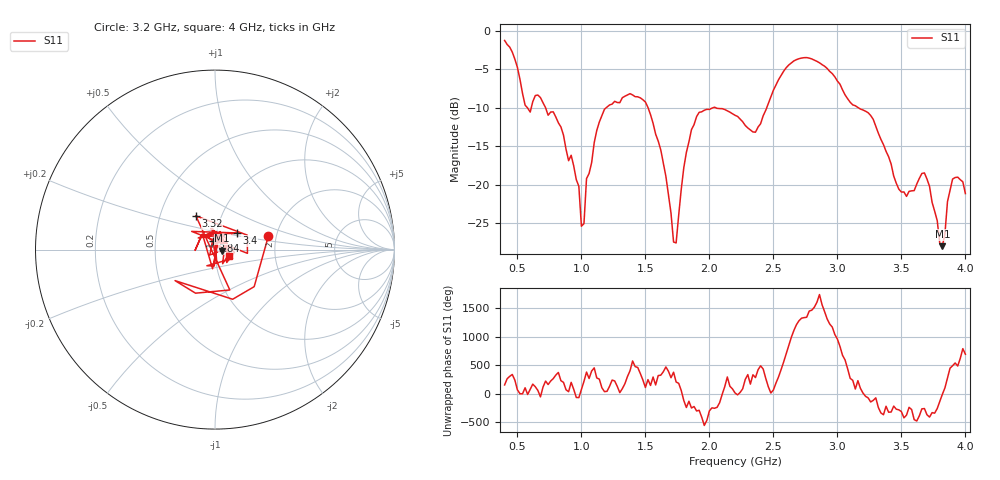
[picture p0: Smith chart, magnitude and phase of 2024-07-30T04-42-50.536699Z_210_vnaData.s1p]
!Created with skrf (http://scikit-rf.org).
# Hz S RI R 50.0
!freq ReS11 ImS11
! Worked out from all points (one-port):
!   181 points, 400 MHz to 4 GHz, reference 50 ohm
!   lowest |S11| = -28.0 dB at 3.82 GHz (marker M1), VSWR 1.08, Z = 54.1 - j0.592 ohm
!   |S11| at or under -10 dB: 720.3 MHz to 1.193 GHz (472.8 MHz wide, 49.4 % of centre); 1.521 GHz to 2.027 GHz (506.3 MHz wide, 28.5 % of centre); 3.164 GHz to end of sweep (the widest 3 of 5)
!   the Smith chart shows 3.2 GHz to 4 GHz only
!   S11 on the Smith chart (normalised r, x): 3.2 GHz: 1.81, +0.30; 3.32 GHz: 0.76, +0.30; 3.4 GHz: 1.25, +0.24; 3.84 GHz: 0.97, +0.09; 4 GHz: 1.17, -0.08
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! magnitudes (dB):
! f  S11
! 400 MHz  -1.2
! 560 MHz  -9.6
! 660 MHz  -8.3
! 860 MHz  -13.6
! 980 MHz  -20.2
! 1 GHz  -25.4
! 1.04 GHz  -19.2
! 1.14 GHz  -11.9
! 1.3 GHz  -9.3
! 1.5 GHz  -9.2
! 1.62 GHz  -15.5
! 1.72 GHz  -27.5
! 1.76 GHz  -24.0
! 1.82 GHz  -15.8
! 1.9 GHz  -11.1
! 2.2 GHz  -11.0
! 2.36 GHz  -13.2
! 2.66 GHz  -3.9
! 3.1 GHz  -9.3
! 3.2 GHz  -10.3
! 3.32 GHz  -13.3
! 3.4 GHz  -16.4
! 3.56 GHz  -20.9
! 3.68 GHz  -18.5
! 3.82 GHz  -28.0
! 3.84 GHz  -26.4
! 3.9 GHz  -19.3
! 4 GHz  -21.2
